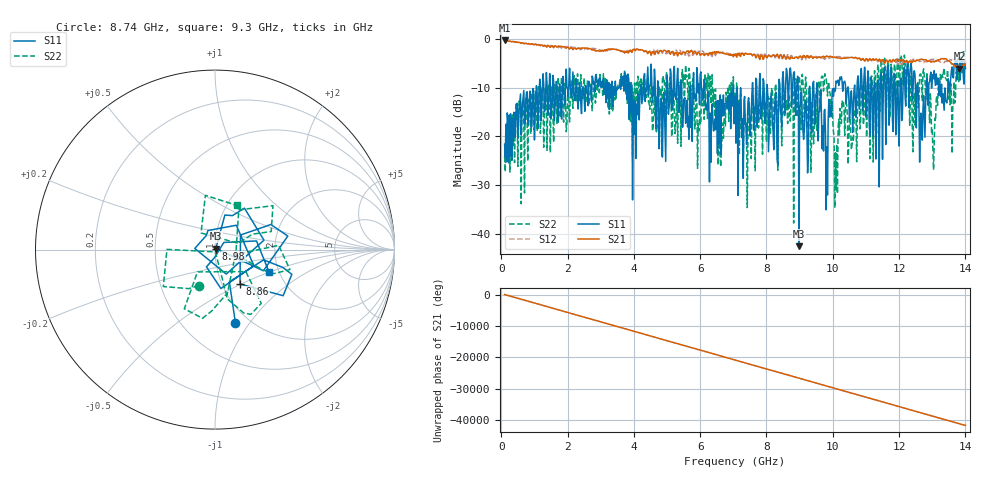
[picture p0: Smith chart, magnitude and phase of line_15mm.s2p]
!Keysight Technologies,E5080B,MY59100652,A.14.10.03
!Date: Wednesday, May 25, 2022 15:53:05
!Correction: S11(Off)
!S21(Off)
!S12(Off)
!S22(Off)
!S2P File: Measurement: :
# Hz S  RI  R 50
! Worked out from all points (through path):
!   696 points, 100 MHz to 14 GHz, reference 50 ohm
!   highest |S21| = -0.34 dB at 120 MHz (marker M1); lowest = -6.1 dB at 13.82 GHz (marker M2)
!   lowest |S11| = -42.6 dB at 8.98 GHz (marker M3), VSWR 1.02, Z = 50.5 + j0.588 ohm
!   |S11| at or under -10 dB: start of sweep to 1.058 GHz; 6.143 GHz to 6.998 GHz (855.2 MHz wide, 13 % of centre); 7.001 GHz to 7.572 GHz (571.1 MHz wide, 7.84 % of centre) (the widest 3 of 96)
!   |S22| runs from -37.8 to -2.3 dB; largest |S21 - S12| = 0.066
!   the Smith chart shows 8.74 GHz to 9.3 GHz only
!   S11 on the Smith chart (normalised r, x): 8.74 GHz: 0.86, -0.86; 8.86 GHz: 1.21, -0.49; 8.98 GHz: 1.01, +0.01; 9.3 GHz: 1.77, -0.49
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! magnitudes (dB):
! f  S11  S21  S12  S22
! 100 MHz  -21.6  -0.3  -0.3  -24.1
! 120 MHz  -24.3  -0.3  -0.3  -27.3
! 2.42 GHz  -15.4  -1.9  -2.1  -9.8
! 4.74 GHz  -9.7  -3.0  -2.9  -18.9
! 5.96 GHz  -9.3  -2.9  -2.6  -18.9
! 6.3 GHz  -15.3  -3.1  -3.3  -7.7
! 6.6 GHz  -11.5  -2.8  -2.8  -24.1
! 7.06 GHz  -11.8  -3.3  -3.4  -10.9
! 7.36 GHz  -17.2  -3.0  -3.0  -17.8
! 8.74 GHz  -7.4  -3.8  -3.4  -13.2
! 8.86 GHz  -12.5  -3.8  -3.7  -9.3
! 8.98 GHz  -42.6  -3.7  -3.9  -7.7
! 9.3 GHz  -9.8  -3.9  -3.9  -11.2
! 9.38 GHz  -13.7  -3.8  -3.7  -12.7
! 9.78 GHz  -19.4  -3.6  -4.1  -7.8
! 10.08 GHz  -10.4  -3.8  -3.7  -23.4
! 10.28 GHz  -8.7  -4.0  -3.7  -12.7
! 11.7 GHz  -17.7  -4.5  -4.5  -10.4
! 12.78 GHz  -20.2  -4.3  -4.7  -8.2
! 13.04 GHz  -8.2  -4.6  -4.2  -26.9
! 13.82 GHz  -4.1  -6.1  -5.9  -3.9
! 14 GHz  -6.0  -5.0  -6.0  -6.4
